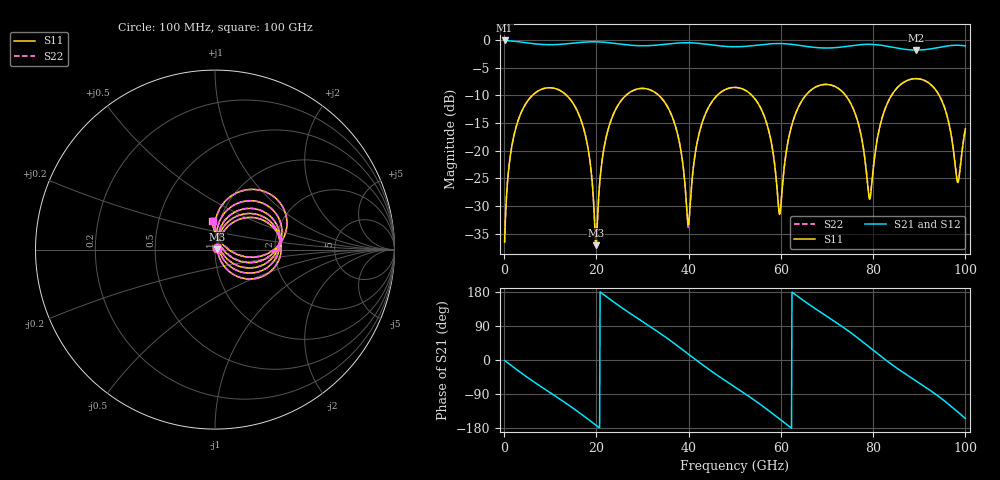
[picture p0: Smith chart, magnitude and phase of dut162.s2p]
! Touchstone file exported from HFSS 2026.1.0
!  File:  C:/ffzhzh/LocalFiles/Ansys_Project_Files/temp_test_TSV_RDL_162_1783465830_50928.aedt
!  Generated:  07:19:44 AM Jul  8, 2026
!  Design:  TSV_RDL
!  Project:  temp_test_TSV_RDL_162_1783465830_50928
! Variables:
!  h_bsmrdl = 3.81um
!  h_ox = 20um
!  h_rdl = 5um
!  h_sub = 82.48um
!  h_tmrdl = 2.37um
!  h_tsv = 82.48um
!  h_via = 3um
!  l_bsmrdl = 497.87um
!  l_sub = 2803.34um
!  l_tmrdl = 191.59um
!  m_sub = 200um
!  pitch = 42.04um
!  r_tsv = 7.93um
!  s_tmrdl = 10um
!  w_bsmrdl = 26.18um
!  w_sub = 500um
!  w_tmrdl = 21.61um
!  x_tsv_center1 = 202.395um
!  x_tsv_center2 = 726.445um
!  x_tsv_center3 = 939.645um
!  x_tsv_center4 = 1463.695um
!  x_tsv_center5 = 1676.895um
!  x_tsv_center6 = 2200.945um
# GHz S MA R 50.000000
! Terminal data exported
! Port[1] = TM_RDL1_1_T1
! Port[2] = TM_RDL5_1_T1
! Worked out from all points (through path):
!   1000 points, 100 MHz to 100 GHz, reference 50 ohm
!   highest |S21| = -0.11 dB at 100 MHz (marker M1); lowest = -1.8 dB at 89.3 GHz (marker M2)
!   group delay of S21, straight-line fit = 24.1 ps
!   lowest |S11| = -37.1 dB at 19.9 GHz (marker M3), VSWR 1.03, Z = 51.4 + j0.0983 ohm
!   |S11| at or under -10 dB: 13.52 GHz to 26.44 GHz (12.92 GHz wide, 64.7 % of centre); 33.49 GHz to 46.23 GHz (12.74 GHz wide, 32 % of centre); 53.68 GHz to 65.41 GHz (11.73 GHz wide, 19.7 % of centre) (the widest 3 of 6)
!   |S22| runs from -37.3 to -7.0 dB; largest |S21 - S12| = 1.4e-13
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0.1  0.01491 30.0  0.9872 -1.0  0.9872 -1.0  0.01491 30.0
! Gamma 0 0 0 0
! Port Impedance 50 0 50 0
1.8  0.1177 64.1  0.9749 -17.0  0.9749 -17.0  0.1177 64.1
5.2  0.2848 38.5  0.9362 -47.3  0.9362 -47.3  0.2848 38.5
16.8  0.1815 -52.2  0.9494 -143.6  0.9494 -143.6  0.1815 -52.2
19.9  0.01393 3.9  0.9596 -172.0  0.9596 -172.0  0.01371 3.7
24  0.2276 56.1  0.9282 150.9  0.9282 150.9  0.2275 56.1
33.4  0.3187 -16.0  0.8984 73.9  0.8984 73.9  0.3186 -16.0
37.5  0.1466 -46.0  0.9341 38.1  0.9341 38.1  0.1465 -46.3
39.9  0.02137 9.7  0.941 15.9  0.941 15.9  0.02027 9.5
43.3  0.1975 67.9  0.9186 -15.3  0.9186 -15.3  0.1974 68.3
50.1  0.3719 16.8  0.8661 -71.9  0.8661 -71.9  0.3719 17.1
56.4  0.2037 -30.0  0.9105 -124.8  0.9105 -124.8  0.2039 -29.6
59.7  0.02654 19.3  0.9264 -155.5  0.9264 -155.5  0.02744 19.3
62.4  0.1718 79.8  0.91 179.2  0.91 179.2  0.1718 79.8
66.7  0.3565 48.8  0.8597 141.7  0.8597 141.7  0.3564 48.9
74.9  0.2781 -11.6  0.8803 74.2  0.8803 74.2  0.2782 -11.1
79.2  0.03645 27.3  0.9113 33.8  0.9113 33.8  0.03885 27.9
83.4  0.2848 77.0  0.8694 -6.2  0.8694 -6.2  0.2851 76.7
89.3  0.4463 34.2  0.8085 -55.2  0.8085 -55.2  0.4464 34.2
95  0.2756 -6.4  0.8651 -103.6  0.8651 -103.6  0.276 -6.0
98.3  0.05177 34.8  0.8939 -136.6  0.8939 -136.6  0.05447 35.1
100  0.1574 95.9  0.8809 -154.3  0.8809 -154.3  0.1583 94.9
